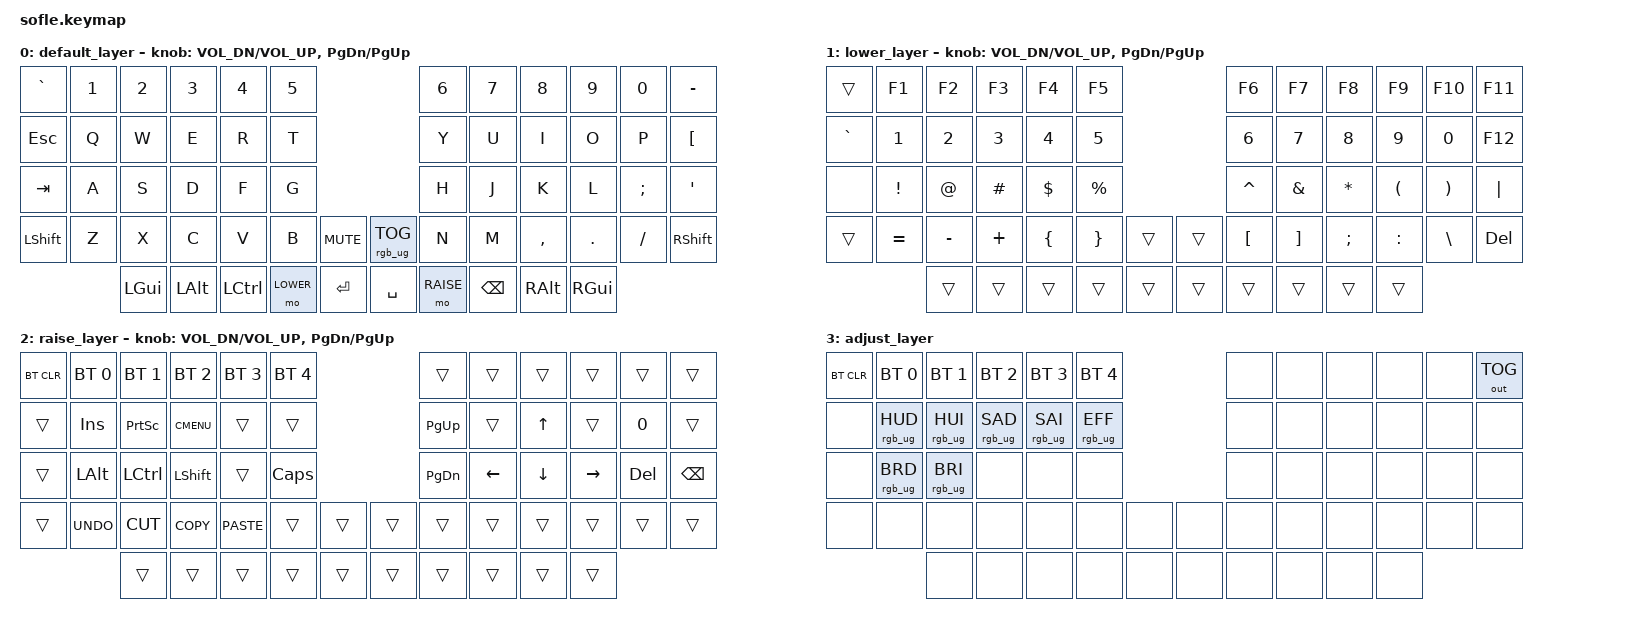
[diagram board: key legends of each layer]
/*
 * Copyright (c) 2020 The ZMK Contributors
 *
 * SPDX-License-Identifier: MIT
 */

#include <behaviors.dtsi>
#include <dt-bindings/zmk/keys.h>
#include <dt-bindings/zmk/bt.h>
#include <dt-bindings/zmk/rgb.h>
#include <dt-bindings/zmk/ext_power.h>
#include <dt-bindings/zmk/outputs.h>

#define BASE 0
#define LOWER 1
#define RAISE 2
#define ADJUST 3

/ {

   // Activate ADJUST layer by pressing raise and lower
    conditional_layers {
        compatible = "zmk,conditional-layers";
        adjust_layer {
            if-layers = <LOWER RAISE>;
            then-layer = <ADJUST>;
        };
    };

    keymap {
        compatible = "zmk,keymap";

        default_layer {
// ------------------------------------------------------------------------------------------------------------
// |  ^   |  1  |  2  |  3   |  4   |  5   |                    |  6   |  7    |  8    |  9   |   0   |   ß   |
// | ESC  |  Q  |  W  |  E   |  R   |  T   |                    |  Z   |  U    |  I    |  O   |   P   |  Ü    |
// | TAB  |  A  |  S  |  D   |  F   |  G   |                    |  H   |  J    |  K    |  L   |   Ö   |  Ä    |
// | LSHFT|  Y  |  X  |  C   |  V   |  B   |  MUTE  | | RGB_TOG |  N   |  M    |  ,    |  .   |   -   | RSHFT |
//               | GUI | ALT  | CTRL | LOWER|  ENTER | | SPACE   | RAISE| BKSPC | RALT  | RGUI |
            bindings = <
&kp GRAVE &kp N1 &kp N2   &kp N3   &kp N4    &kp N5                                       &kp N6 &kp N7    &kp N8    &kp N9   &kp N0   &kp MINUS
&kp ESC   &kp Q  &kp W    &kp E    &kp R     &kp T                                       &kp Y  &kp U     &kp I     &kp O    &kp P    &kp LBKT
&kp TAB   &kp A  &kp S    &kp D    &kp F     &kp G                                       &kp H  &kp J     &kp K     &kp L    &kp SEMI &kp SQT
&kp LSHFT &kp Z  &kp X    &kp C    &kp V     &kp B      &kp C_MUTE &rgb_ug RGB_TOG       &kp N  &kp M     &kp COMMA &kp DOT  &kp FSLH &kp RSHFT
                 &kp LGUI &kp LALT &kp LCTRL &mo LOWER  &kp RET              &kp SPACE   &mo RAISE  &kp BSPC  &kp RALT  &kp RGUI
            >;

            sensor-bindings = <&inc_dec_kp C_VOL_DN C_VOL_UP &inc_dec_kp PG_DN PG_UP>;
        };

        lower_layer {
// ------------------------------------------------------------------------------------------------------------
// |       |  F1 |  F2 |  F3  |  F4  |  F5  |                    |  F6  |  F7   |  F8   |  F9  |  F10  |  F11  |
// |   ^   |  1  |  2  |  3   |  4   |  5   |                    |  6   |  7    |  8    |  9   |   0   |  F12  |
// |       |  !  |  "  |  §   |  $   |  %   |                    |  &   |  /    |  (    |  )   |   =   |   ?   |
// |       |  <  |  >  |  |   |  {   |  }   |        | |         |  [   |  ]    |  ;    |  :   |   \   |  DEL  |
//               |     |      |      |      |        | |         |      |       |       |      |
            bindings = <
&trans    &kp F1    &kp F2    &kp F3      &kp F4    &kp F5                    &kp F6    &kp F7   &kp F8    &kp F9    &kp F10   &kp F11
&kp GRAVE &kp N1    &kp N2    &kp N3      &kp N4    &kp N5                    &kp N6    &kp N7   &kp N8    &kp N9    &kp N0    &kp F12
&none     &kp EXCL  &kp AT    &kp HASH    &kp DLLR  &kp PRCNT                 &kp CARET &kp AMPS &kp ASTRK &kp LPAR  &kp RPAR  &kp PIPE
&trans    &kp EQUAL &kp MINUS &kp PLUS    &kp LBRC  &kp RBRC   &trans &trans  &kp LBKT  &kp RBKT &kp SEMI  &kp COLON &kp BSLH  &kp DEL
                    &trans    &trans      &trans    &trans     &trans &trans  &trans    &trans   &trans    &trans
            >;

            sensor-bindings = <&inc_dec_kp C_VOL_DN C_VOL_UP &inc_dec_kp PG_DN PG_UP>;
        };

        raise_layer {
// ------------------------------------------------------------------------------------------------------------
// | BTCLR | BT1  | BT2  |  BT3  |  BT4  |  BT5 |                |      |      |       |      |       |       |
// |       | INS  | PSCR | GUI   |       |      |                | PGUP |      |   ^   |      |       |       |
// |       | ALT  | CTRL | SHIFT |       | CAPS |                | PGDN |  <-  |   v   |  ->  |  DEL  | BKSPC |
// |       | UNDO | CUT  | COPY  | PASTE |      |      | |       |      |      |       |      |       |       |
//                |      |       |       |      |      | |       |      |      |       |      |
            bindings = <
&bt BT_CLR &bt BT_SEL 0 &bt BT_SEL 1 &bt BT_SEL 2 &bt BT_SEL 3 &bt BT_SEL 4                  &trans    &trans    &trans   &trans    &trans  &trans
&trans     &kp INS      &kp PSCRN    &kp K_CMENU  &trans       &trans                        &kp PG_UP &trans    &kp UP   &trans    &kp N0  &trans
&trans     &kp LALT     &kp LCTRL    &kp LSHFT    &trans       &kp CLCK                      &kp PG_DN &kp LEFT  &kp DOWN &kp RIGHT &kp DEL &kp BSPC
&trans     &kp K_UNDO   &kp K_CUT    &kp K_COPY   &kp K_PASTE  &trans        &trans  &trans  &trans    &trans    &trans   &trans    &trans  &trans
                        &trans       &trans       &trans       &trans        &trans  &trans  &trans    &trans    &trans   &trans
            >;

            sensor-bindings = <&inc_dec_kp C_VOL_DN C_VOL_UP &inc_dec_kp PG_DN PG_UP>;
        };

        adjust_layer {
// ----------------------------------------------------------------------------------------------------------------------------
// | BTCLR  |  BT1    |  BT2    |   BT3   |   BT4   |   BT5   |                  |      |      |       |      |       | OUT_TOG |
// |        | RGB_HUD | RGB_HUI | RGB_SAD | RGB_SAI | RGB_EFF |                  |      |      |       |      |       |         |
// |        | RGB_BRD | RGB_BRI |         |         |         |                  |      |      |       |      |       |         |
// |        |         |         |         |         |         |         | |      |      |      |       |      |       |         |
//                    |         |         |         |         |         | |      |      |      |       |      |
            bindings = <
&bt BT_CLR        &bt BT_SEL 0    &bt BT_SEL 1    &bt BT_SEL 2    &bt BT_SEL 3    &bt BT_SEL 4                            &none &none &none &none &none &out OUT_TOG
&none             &rgb_ug RGB_HUD &rgb_ug RGB_HUI &rgb_ug RGB_SAD &rgb_ug RGB_SAI &rgb_ug RGB_EFF                         &none &none &none &none &none &none
&none             &rgb_ug RGB_BRD &rgb_ug RGB_BRI &none           &none           &none                                   &none &none &none &none &none &none
&none             &none           &none           &none           &none           &none            &none &none  &none &none &none &none &none &none
                                  &none           &none           &none           &none            &none &none  &none &none &none &none
            >;
        };

        extra1 {
            status = "reserved";
        };
        extra2 {
            status = "reserved";
        };
        extra3 {
            status = "reserved";
        };
        extra4 {
            status = "reserved";
        };

    };
};

&led_strip {
    chain-length = <29>;
};
